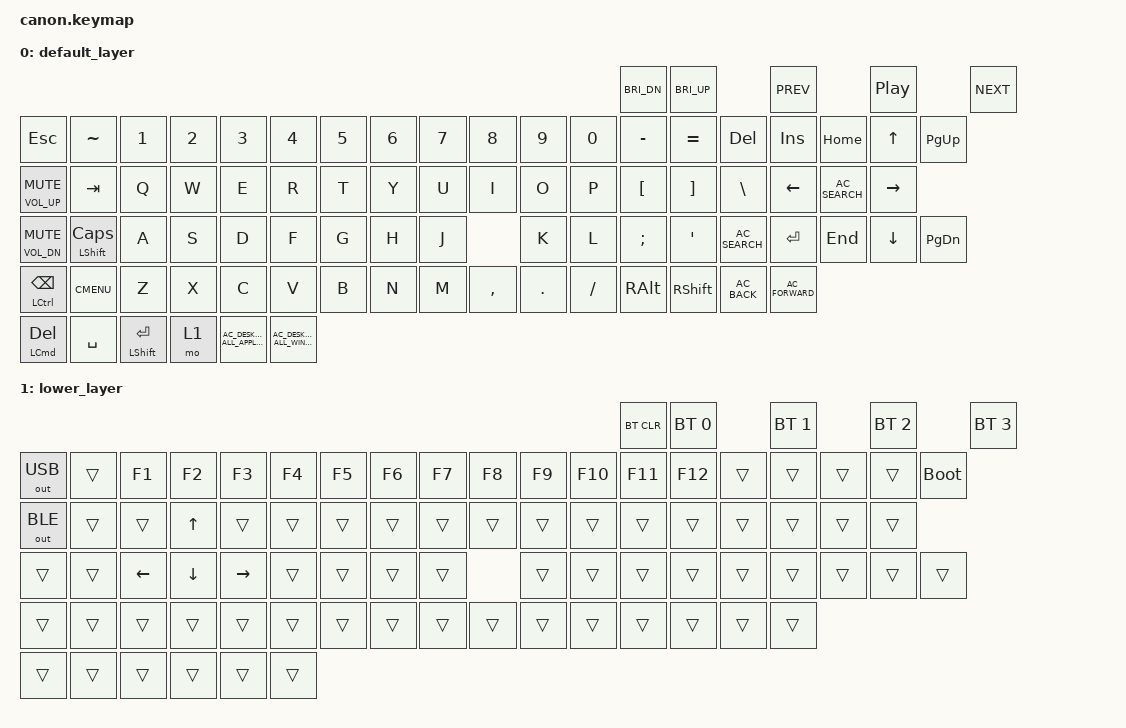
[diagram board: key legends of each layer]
#include <behaviors.dtsi>
#include <dt-bindings/zmk/keys.h>
#include <dt-bindings/zmk/bt.h>
#include <dt-bindings/zmk/outputs.h>
#include <dt-bindings/zmk/rgb.h>
#define FN0 0
#define FN1 1
#define HYPER(key) LS(LC(LA(LG(key))))
#define MEH(key)   LS(LC(LA(key)))

/ {

    keymap {
        compatible = "zmk,keymap";
        default_layer {
            bindings = <
                                                                                                                                      &kp C_BRI_DN &kp C_BRI_UP              &kp C_PREV &kp C_PLAY_PAUSE &kp C_NEXT
                &kp ESC   &kp TILDE   &kp N1    &kp N2 &kp N3 &kp N4 &kp N5 &kp N6 &kp N7 &kp N8    &kp N9  &kp N0   &kp MINUS &kp EQUAL &kp DEL &kp INS       &kp HOME &kp UP &kp PG_UP 
                &mt C_VOL_UP C_MUTE &kp TAB   &kp Q     &kp W &kp E  &kp R  &kp T  &kp Y  &kp U  &kp I     &kp O   &kp P    &kp LBKT  &kp RBKT  &kp BSLH                 &kp LEFT &kp C_AC_SEARCH &kp RIGHT 
                &mt C_VOL_DN C_MUTE &mt LSHFT CLCK  &kp A     &kp S &kp D  &kp F  &kp G  &kp H  &kp J  &kp K     &kp L   &kp SEMI &kp SQT   &kp C_AC_SEARCH     &kp RET                  &kp END &kp DOWN &kp PG_DN 
                &mt LCTRL BSPC    &kp K_CMENU     &kp Z     &kp X  &kp C  &kp V  &kp B  &kp N  &kp M  &kp COMMA &kp DOT &kp FSLH &kp RALT     &kp RSHFT                          &kp C_AC_BACK &kp C_AC_FORWARD 
                &mt LCMD DEL    &kp SPACE &mt LSHFT RET   &mo 1                                                                                                                    &kp C_AC_DESKTOP_SHOW_ALL_APPLICATIONS &kp C_AC_DESKTOP_SHOW_ALL_WINDOWS
            >;
        };

        lower_layer {
            bindings = <
                                                                                                             &bt BT_CLR &bt BT_SEL 0 &bt BT_SEL 1 &bt BT_SEL 2 &bt BT_SEL 3
                &out OUT_USB  &trans &kp F1 &kp F2 &kp F3 &kp F4 &kp F5 &kp F6 &kp F7 &kp F8 &kp F9 &kp F10 &kp F11 &kp F12 &trans &trans &trans &trans &bootloader 
                &out OUT_BLE  &trans &trans &kp UP &trans &trans &trans &trans &trans &trans &trans &trans &trans &trans &trans &trans &trans &trans 
                &trans        &trans &kp LEFT &kp DOWN &kp RIGHT &trans &trans &trans &trans &trans &trans &trans &trans &trans &trans &trans &trans &trans 
                &trans        &trans &trans &trans &trans &trans &trans &trans &trans &trans &trans &trans &trans &trans &trans &trans 
                &trans        &trans &trans &trans &trans &trans
            >;
        };
    };
};
